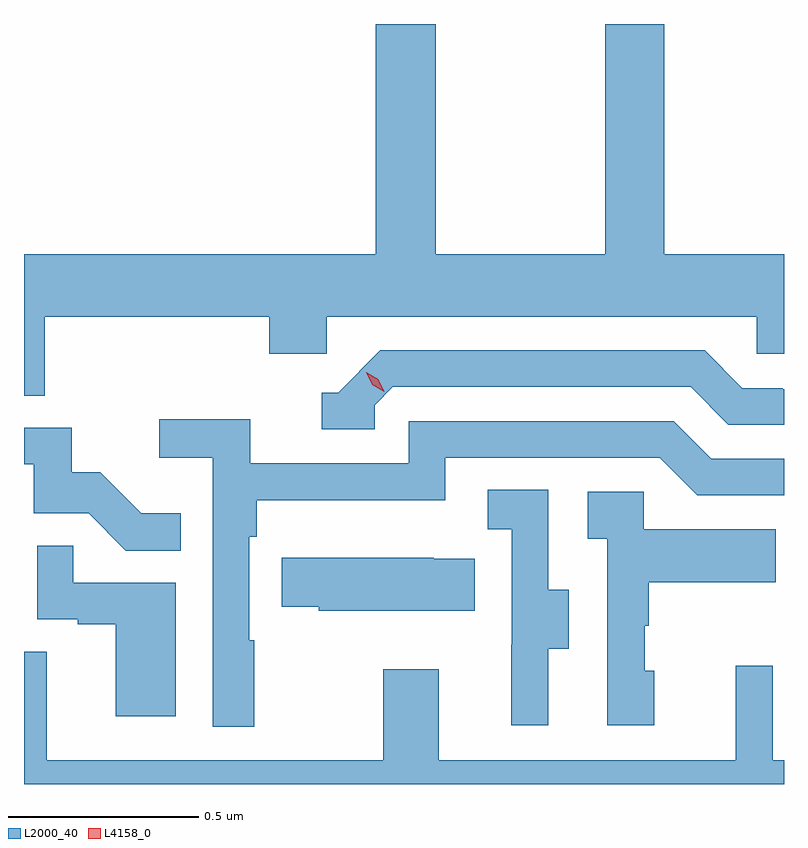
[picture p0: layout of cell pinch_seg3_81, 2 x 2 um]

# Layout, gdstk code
import gdstk
lib = gdstk.Library(unit=1e-6, precision=1e-09)
def P(c, l, *ps):  # polygons
    for p in ps: c.add(gdstk.Polygon(p, *l))
L2000_40 = (2000, 40)
L4158_0 = (4158, 0)

pinch_seg3_81 = lib.new_cell('pinch_seg3_81')
P(pinch_seg3_81, L2000_40, [(1046.276,719.564),(1046.867,719.564),(1046.867,719.466),(1047.018,719.466),(1047.018,719.564),(1048.149,719.564),(1048.149,719.466),(1048.221,719.466),(1048.221,719.728),(1047.906,719.728),(1047.906,720.334),(1047.751,720.334),(1047.751,719.728),(1047.305,719.728),(1047.305,720.334),(1047.146,720.334),(1047.146,719.728),(1046.221,719.728),(1046.221,719.356),(1046.276,719.356)],
  [(1047.144,719.331),(1047.192,719.379),(1047.975,719.379),(1048.074,719.28),(1048.221,719.28),(1048.221,719.373),(1048.218,719.373),(1048.218,719.376),(1048.111,719.376),(1048.012,719.475),(1047.159,719.475),(1047.048,719.364),(1047.005,719.364),(1047.005,719.268),(1047.144,719.268)],
  [(1046.827,718.712),(1046.814,718.712),(1046.814,718.985),(1046.834,718.985),(1046.834,719.081),(1047.33,719.081),(1047.33,719.193),(1047.894,719.193),(1047.993,719.094),(1048.221,719.094),(1048.221,719.19),(1048.03,719.19),(1047.931,719.289),(1047.234,719.289),(1047.234,719.178),(1046.816,719.178),(1046.816,719.294),(1046.577,719.294),(1046.577,719.192),(1046.718,719.192),(1046.718,718.485),(1046.827,718.485)],
  [(1046.633,719.047),(1046.529,719.047),(1046.422,719.154),(1046.346,719.154),(1046.346,719.271),(1046.221,719.271),(1046.221,719.175),(1046.247,719.175),(1046.247,719.046),(1046.391,719.046),(1046.489,718.948),(1046.633,718.948)],
  [(1047.601,718.69),(1047.655,718.69),(1047.655,718.845),(1047.6,718.845),(1047.6,719.108),(1047.441,719.108),(1047.441,719.005),(1047.504,719.005),(1047.504,718.701),(1047.503,718.701),(1047.503,718.488),(1047.601,718.488)],
  [(1047.88,718.632),(1047.855,718.632),(1047.855,718.751),(1047.865,718.751),(1047.865,718.865),(1048.199,718.865),(1048.199,719.005),(1047.852,719.005),(1047.852,719.103),(1047.705,719.103),(1047.705,718.979),(1047.756,718.979),(1047.756,718.488),(1047.88,718.488)],
  [(1046.62,718.863),(1046.351,718.863),(1046.351,718.961),(1046.256,718.961),(1046.256,718.767),(1046.363,718.767),(1046.363,718.755),(1046.462,718.755),(1046.462,718.512),(1046.62,718.512)],
  [(1047.407,718.927),(1047.299,718.927),(1047.299,718.93),(1046.899,718.93),(1046.899,718.801),(1046.997,718.801),(1046.997,718.79),(1047.407,718.79)],
  [(1048.221,718.396),(1048.191,718.396),(1048.191,718.645),(1048.094,718.645),(1048.094,718.396),(1047.313,718.396),(1047.313,718.636),(1047.166,718.636),(1047.166,718.396),(1046.281,718.396),(1046.281,718.682),(1046.221,718.682),(1046.221,718.334),(1048.221,718.334)])
P(pinch_seg3_81, L4158_0, [(1047.169,719.366),(1047.138,719.385),(1047.122,719.418),(1047.122,719.418),(1047.122,719.418),(1047.153,719.399),(1047.169,719.366),(1047.169,719.366)])

lib.write_gds('pinch_seg3_81.gds')
